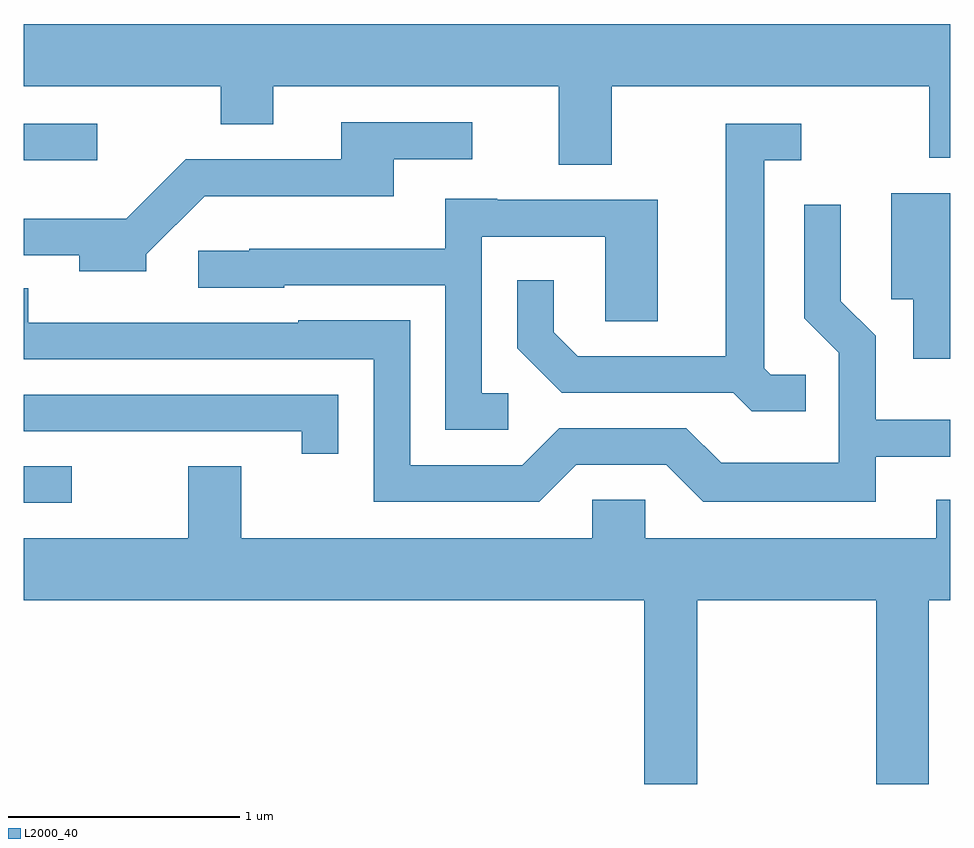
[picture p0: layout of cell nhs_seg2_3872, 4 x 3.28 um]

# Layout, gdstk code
import gdstk
lib = gdstk.Library(unit=1e-6, precision=1e-09)
def R(c, l, rs):  # rectangles x0, y0, x1, y1
    for r in rs: c.add(gdstk.rectangle(r[:2], r[2:], *l))
def P(c, l, *ps):  # polygons
    for p in ps: c.add(gdstk.Polygon(p, *l))
L2000_40 = (2000, 40)

nhs_seg2_3872 = lib.new_cell('nhs_seg2_3872')
R(nhs_seg2_3872, L2000_40, [(299.611,991.016,299.818,991.174), (299.611,992.496,299.928,992.654)])
P(nhs_seg2_3872, L2000_40, [(302.149,992.816),(303.521,992.816),(303.521,992.506),(303.611,992.506),(303.611,993.084),(299.611,993.084),(299.611,992.816),(300.461,992.816),(300.461,992.651),(300.689,992.651),(300.689,992.816),(301.921,992.816),(301.921,992.476),(302.149,992.476)],
  [(300.139,992.089),(300.392,992.341),(301.209,992.341),(301.209,992.501),(301.548,992.501),(301.548,992.659),(300.981,992.659),(300.981,992.499),(300.309,992.499),(300.054,992.244),(299.611,992.244),(299.611,992.086),(299.851,992.086),(299.851,992.016),(300.139,992.016)],
  [(302.988,991.569),(302.837,991.569),(302.809,991.597),(302.809,992.496),(302.968,992.496),(302.968,992.654),(302.641,992.654),(302.641,991.649),(302.002,991.649),(301.899,991.752),(301.899,991.978),(301.741,991.978),(301.741,991.684),(301.934,991.491),(302.674,991.491),(302.754,991.411),(302.988,991.411)],
  [(303.611,992.354),(303.356,992.354),(303.356,991.896),(303.451,991.896),(303.451,991.638),(303.611,991.638)],
  [(301.703,991.489),(301.589,991.489),(301.589,992.166),(302.121,992.166),(302.121,991.801),(302.349,991.801),(302.349,992.324),(301.655,992.324),(301.655,992.329),(301.431,992.329),(301.431,992.114),(300.585,992.114),(300.585,992.104),(300.363,992.104),(300.363,991.946),(300.735,991.946),(300.735,991.956),(301.431,991.956),(301.431,991.331),(301.703,991.331)],
  [(301.997,991.181),(302.384,991.181),(302.544,991.021),(303.289,991.021),(303.289,991.216),(303.611,991.216),(303.611,991.374),(303.289,991.374),(303.289,991.737),(303.139,991.887),(303.139,992.303),(302.981,992.303),(302.981,991.814),(303.131,991.664),(303.131,991.189),(302.622,991.189),(302.472,991.339),(301.924,991.339),(301.764,991.179),(301.279,991.179),(301.279,991.804),(300.795,991.804),(300.795,991.794),(299.629,991.794),(299.629,991.943),(299.611,991.943),(299.611,991.636),(301.121,991.636),(301.121,991.021),(301.837,991.021)],
  [(300.969,991.484),(299.611,991.484),(299.611,991.326),(300.811,991.326),(300.811,991.228),(300.969,991.228)],
  [(302.291,989.802),(302.519,989.802),(302.519,990.596),(303.291,990.596),(303.291,989.802),(303.519,989.802),(303.519,990.596),(303.611,990.596),(303.611,991.029),(303.551,991.029),(303.551,990.864),(302.294,990.864),(302.294,991.029),(302.066,991.029),(302.066,990.864),(300.549,990.864),(300.549,991.174),(300.321,991.174),(300.321,990.864),(299.611,990.864),(299.611,990.596),(302.291,990.596)])

lib.write_gds('nhs_seg2_3872.gds')
